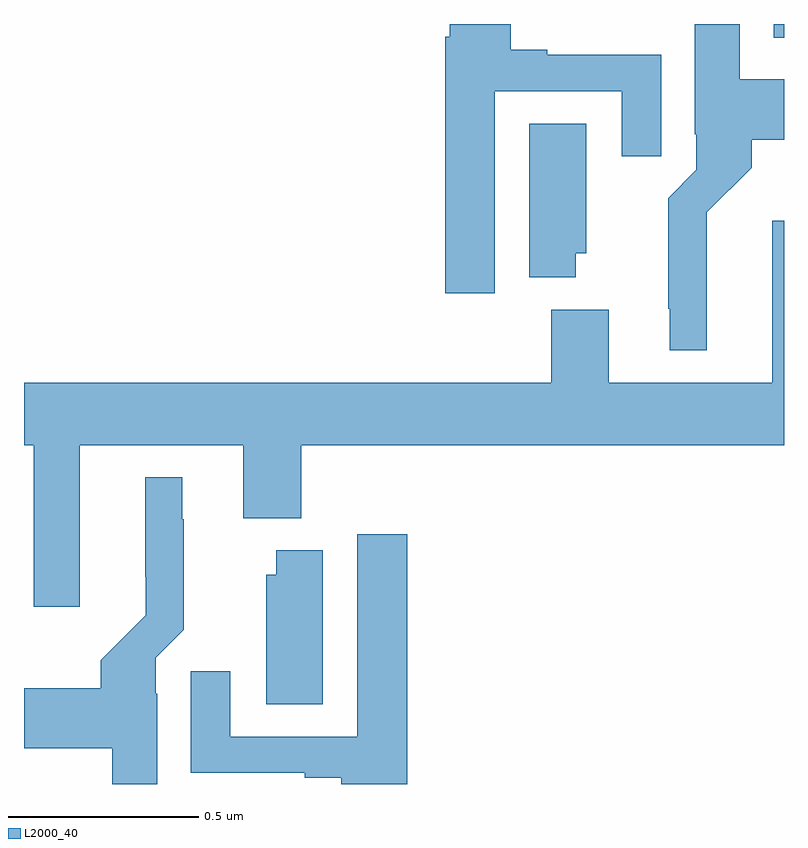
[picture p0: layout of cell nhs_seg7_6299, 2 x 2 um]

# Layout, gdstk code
import gdstk
lib = gdstk.Library(unit=1e-6, precision=1e-09)
def R(c, l, rs):  # rectangles x0, y0, x1, y1
    for r in rs: c.add(gdstk.rectangle(r[:2], r[2:], *l))
def P(c, l, *ps):  # polygons
    for p in ps: c.add(gdstk.Polygon(p, *l))
L2000_40 = (2000, 40)

nhs_seg7_6299 = lib.new_cell('nhs_seg7_6299')
R(nhs_seg7_6299, L2000_40, [(197.973,1058.964,198,1059)])
P(nhs_seg7_6299, L2000_40, [(197.239,1058.823),(197.573,1058.823),(197.573,1058.652),(197.677,1058.652),(197.677,1058.919),(197.377,1058.919),(197.377,1058.932),(197.281,1058.932),(197.281,1059),(197.12,1059),(197.12,1058.966),(197.108,1058.966),(197.108,1058.292),(197.239,1058.292)],
  [(197.797,1058.504),(197.915,1058.622),(197.915,1058.696),(198,1058.696),(198,1058.854),(197.884,1058.854),(197.884,1059),(197.765,1059),(197.765,1058.71),(197.769,1058.71),(197.769,1058.616),(197.695,1058.542),(197.695,1058.251),(197.699,1058.251),(197.699,1058.141),(197.797,1058.141)],
  [(197.452,1058.397),(197.479,1058.397),(197.479,1058.738),(197.33,1058.738),(197.33,1058.333),(197.452,1058.333)],
  [(196.147,1057.892),(196.577,1057.892),(196.577,1057.7),(196.73,1057.7),(196.73,1057.892),(198,1057.892),(198,1058.482),(197.969,1058.482),(197.969,1058.056),(197.539,1058.056),(197.539,1058.248),(197.387,1058.248),(197.387,1058.056),(196,1058.056),(196,1057.892),(196.025,1057.892),(196.025,1057.467),(196.147,1057.467)],
  [(196.351,1057.238),(196.347,1057.238),(196.347,1057.332),(196.421,1057.406),(196.421,1057.697),(196.417,1057.697),(196.417,1057.807),(196.319,1057.807),(196.319,1057.546),(196.32,1057.546),(196.32,1057.444),(196.202,1057.326),(196.202,1057.252),(196,1057.252),(196,1057.094),(196.232,1057.094),(196.232,1057),(196.351,1057)],
  [(197.009,1057.657),(196.877,1057.657),(196.877,1057.125),(196.543,1057.125),(196.543,1057.297),(196.439,1057.297),(196.439,1057.029),(196.739,1057.029),(196.739,1057.017),(196.835,1057.017),(196.835,1057),(197.009,1057)],
  [(196.786,1057.615),(196.664,1057.615),(196.664,1057.551),(196.637,1057.551),(196.637,1057.21),(196.786,1057.21)])

lib.write_gds('nhs_seg7_6299.gds')
